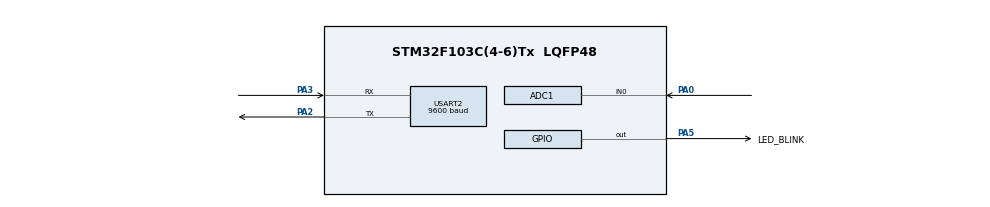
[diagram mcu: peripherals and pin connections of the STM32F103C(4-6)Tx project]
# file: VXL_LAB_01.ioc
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ADC1.Channel-1\#ChannelRegularConversion=ADC_CHANNEL_0
ADC1.ContinuousConvMode=DISABLE
ADC1.NbrOfConversionFlag=1
ADC1.Rank-1\#ChannelRegularConversion=1
ADC1.SamplingTime-1\#ChannelRegularConversion=ADC_SAMPLETIME_1CYCLE_5
ADC1.master=1
Mcu.Family=STM32F1
Mcu.Name=STM32F103C(4-6)Tx
Mcu.Package=LQFP48
NVIC.PriorityGroup=NVIC_PRIORITYGROUP_4
NVIC.TIM2_IRQn=true\:0\:0\:false\:false\:true\:true\:true\:true
NVIC.USART2_IRQn=true\:0\:0\:false\:false\:true\:true\:true\:true
PA0-WKUP.Signal=ADCx_IN0
PA2.Mode=Asynchronous
PA2.Signal=USART2_TX
PA3.Mode=Asynchronous
PA3.Signal=USART2_RX
PA5.GPIO_Label=LED_BLINK
PA5.Signal=GPIO_Output
ProjectManager.HeapSize=0x200
ProjectManager.StackSize=0x400
ProjectManager.TargetToolchain=STM32CubeIDE
RCC.APB1Freq_Value=8000000
RCC.APB2Freq_Value=8000000
SH.ADCx_IN0.0=ADC1_IN0,IN0
TIM2.Period=9
TIM2.Prescaler=7999
USART2.BaudRate=9600
USART2.VirtualMode=VM_ASYNC
VP_SYS_VS_ND.Mode=No_Debug
VP_TIM2_VS_ClockSourceINT.Mode=Internal
board=custom

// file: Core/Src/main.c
/* USER CODE BEGIN Header */
/**
  ******************************************************************************
  * @file           : main.c
  * @brief          : Main program body
  ******************************************************************************
  * @attention
  *
  * Copyright (c) 2025 STMicroelectronics.
  * All rights reserved.
  *
  * This software is licensed under terms that can be found in the LICENSE file
  * in the root directory of this software component.
  * If no LICENSE file comes with this software, it is provided AS-IS.
  *
  ******************************************************************************
  */
/* USER CODE END Header */
#include "main.h"

/* USER CODE BEGIN Includes */
#include <stdio.h>
#include <string.h>
#include <ctype.h>
/* USER CODE END Includes */

/* USER CODE BEGIN PTD */
typedef enum { SEEK_BANG = 0, READ_CMD } ParserState;
typedef enum { IDLE = 0, SEND_DATA, WAIT_OK } CommState;
/* USER CODE END PTD */

/* USER CODE BEGIN PD */
#define RB_SIZE 64
#define TIMEOUT_MS 1000
/* USER CODE END PD */

ADC_HandleTypeDef hadc1;

TIM_HandleTypeDef htim2;

UART_HandleTypeDef huart2;

/* USER CODE BEGIN PV */
uint8_t rx_byte = 0x20, temp=0x52;
uint8_t rb[RB_SIZE];
uint16_t rb_head = 0, rb_tail = 0;

uint8_t buffer_flag = 0;

uint32_t ADC_value = 0;

char cmd[16];
uint8_t cmd_len = 0;
uint32_t next_send_ms = 0;

uint8_t resend_flag = 0;

ParserState parser_state = SEEK_BANG;
CommState comm_state = IDLE;
/* USER CODE END PV */

void SystemClock_Config(void);
static void MX_GPIO_Init(void);
static void MX_TIM2_Init(void);
static void MX_ADC1_Init(void);
static void MX_USART2_UART_Init(void);
/* USER CODE BEGIN PFP */
void Init_UART(){
	HAL_UART_Receive_IT(&huart2, &temp, 1);
}

void rb_put(uint8_t b) {
    uint16_t next = (rb_head + 1) % RB_SIZE;
    if (next != rb_tail) {
    	rb[rb_head] = b; rb_head = next;
    }
}

int rb_get(uint8_t *out) {
    if (rb_head == rb_tail) return 0;
    *out = rb[rb_tail];
    rb_tail = (rb_tail + 1) % RB_SIZE;
    return 1;
}

void command_parser_fsm(void)
{
    uint8_t b;
    while (rb_get(&b)) {
        switch (parser_state) {

        case SEEK_BANG:
            if (b == '!') {
                parser_state = READ_CMD;
                cmd_len = 0;
            }
            break;

        case READ_CMD:
            if (b == '#') {
                cmd[cmd_len] = '\0';
                for (uint8_t i = 0; i < cmd_len; i++)
                    cmd[i] = toupper((unsigned char)cmd[i]);

                if (strcmp(cmd, "RST") == 0)
                    comm_state = SEND_DATA;
                else if (strcmp(cmd, "OK") == 0)
                    comm_state = IDLE;

                parser_state = SEEK_BANG;
            }else if (b == '!'){
            	cmd_len = 0;
            }
            else if (cmd_len < sizeof(cmd) - 1 && b >= 0x20 && b <= 0x7E)
                cmd[cmd_len++] = b;
            else if (cmd_len >= sizeof(cmd) - 1)
                parser_state = SEEK_BANG;
            break;
        }
    }
}

void update_ADC_value(void)
{
    HAL_ADC_Start(&hadc1);
    HAL_ADC_PollForConversion(&hadc1, 10);
    ADC_value = HAL_ADC_GetValue(&hadc1);
    HAL_ADC_Stop(&hadc1);
}

void uart_communication_fsm(void)
{
    uint32_t now = HAL_GetTick();

    switch (comm_state) {

    case SEND_DATA:
    {
        char out[32];
        update_ADC_value();
        int n = snprintf(out, sizeof(out), "!ADC=%lu#\r\n", (unsigned long)ADC_value);
        HAL_UART_Transmit(&huart2, (uint8_t*)out, n, 100);

        resend_flag = 1;
        next_send_ms = now + TIMEOUT_MS;
        comm_state = WAIT_OK;
        break;
    }

    case WAIT_OK:
        if (resend_flag && (int32_t)(now - next_send_ms) >= 0) {
            char out[32];
            int n = snprintf(out, sizeof(out), "!ADC=%lu#\r\n", (unsigned long)ADC_value);
            HAL_UART_Transmit(&huart2, (uint8_t*)out, n, 100);
            next_send_ms = now + TIMEOUT_MS;
        }
        break;

    case IDLE:
    default:
        resend_flag = 0;
        break;
    }
}

void HAL_UART_RxCpltCallback(UART_HandleTypeDef *huart) {
    if (huart->Instance == USART2) {
    	rb_put(rx_byte);
    	buffer_flag = 1;
        HAL_UART_Receive_IT(&huart2, &rx_byte, 1);
    }
}
/* USER CODE END PFP */

int main(void)
{

  /* MCU Configuration--------------------------------------------------------*/

  /* Reset of all peripherals, Initializes the Flash interface and the Systick. */
  HAL_Init();

  /* Configure the system clock */
  SystemClock_Config();

  /* Initialize all configured peripherals */
  MX_GPIO_Init();
  MX_TIM2_Init();
  MX_ADC1_Init();
  MX_USART2_UART_Init();
  /* USER CODE BEGIN 2 */
  HAL_TIM_Base_Start_IT(&htim2);
  Init_UART();
  /* USER CODE END 2 */
  /* Infinite loop */
  /* USER CODE BEGIN WHILE */
  while (1)
  {
	  if ( buffer_flag == 1) {
		  command_parser_fsm();
		  buffer_flag = 0;
	  }
	  uart_communication_fsm();
    /* USER CODE END WHILE */

  }
}

void SystemClock_Config(void)
{
  RCC_OscInitTypeDef RCC_OscInitStruct = {0};
  RCC_ClkInitTypeDef RCC_ClkInitStruct = {0};
  RCC_PeriphCLKInitTypeDef PeriphClkInit = {0};

  /** Initializes the RCC Oscillators according to the specified parameters
  * in the RCC_OscInitTypeDef structure.
  */
  RCC_OscInitStruct.OscillatorType = RCC_OSCILLATORTYPE_HSI;
  RCC_OscInitStruct.HSIState = RCC_HSI_ON;
  RCC_OscInitStruct.HSICalibrationValue = RCC_HSICALIBRATION_DEFAULT;
  RCC_OscInitStruct.PLL.PLLState = RCC_PLL_NONE;
  if (HAL_RCC_OscConfig(&RCC_OscInitStruct) != HAL_OK)
  {
    Error_Handler();
  }

  /** Initializes the CPU, AHB and APB buses clocks
  */
  RCC_ClkInitStruct.ClockType = RCC_CLOCKTYPE_HCLK|RCC_CLOCKTYPE_SYSCLK
                              |RCC_CLOCKTYPE_PCLK1|RCC_CLOCKTYPE_PCLK2;
  RCC_ClkInitStruct.SYSCLKSource = RCC_SYSCLKSOURCE_HSI;
  RCC_ClkInitStruct.AHBCLKDivider = RCC_SYSCLK_DIV1;
  RCC_ClkInitStruct.APB1CLKDivider = RCC_HCLK_DIV1;
  RCC_ClkInitStruct.APB2CLKDivider = RCC_HCLK_DIV1;

  if (HAL_RCC_ClockConfig(&RCC_ClkInitStruct, FLASH_LATENCY_0) != HAL_OK)
  {
    Error_Handler();
  }
  PeriphClkInit.PeriphClockSelection = RCC_PERIPHCLK_ADC;
  PeriphClkInit.AdcClockSelection = RCC_ADCPCLK2_DIV2;
  if (HAL_RCCEx_PeriphCLKConfig(&PeriphClkInit) != HAL_OK)
  {
    Error_Handler();
  }
}

static void MX_ADC1_Init(void)
{

  ADC_ChannelConfTypeDef sConfig = {0};

  /** Common config
  */
  hadc1.Instance = ADC1;
  hadc1.Init.ScanConvMode = ADC_SCAN_DISABLE;
  hadc1.Init.ContinuousConvMode = DISABLE;
  hadc1.Init.DiscontinuousConvMode = DISABLE;
  hadc1.Init.ExternalTrigConv = ADC_SOFTWARE_START;
  hadc1.Init.DataAlign = ADC_DATAALIGN_RIGHT;
  hadc1.Init.NbrOfConversion = 1;
  if (HAL_ADC_Init(&hadc1) != HAL_OK)
  {
    Error_Handler();
  }

  /** Configure Regular Channel
  */
  sConfig.Channel = ADC_CHANNEL_0;
  sConfig.Rank = ADC_REGULAR_RANK_1;
  sConfig.SamplingTime = ADC_SAMPLETIME_1CYCLE_5;
  if (HAL_ADC_ConfigChannel(&hadc1, &sConfig) != HAL_OK)
  {
    Error_Handler();
  }

}

static void MX_TIM2_Init(void)
{

  TIM_ClockConfigTypeDef sClockSourceConfig = {0};
  TIM_MasterConfigTypeDef sMasterConfig = {0};

  htim2.Instance = TIM2;
  htim2.Init.Prescaler = 7999;
  htim2.Init.CounterMode = TIM_COUNTERMODE_UP;
  htim2.Init.Period = 9;
  htim2.Init.ClockDivision = TIM_CLOCKDIVISION_DIV1;
  htim2.Init.AutoReloadPreload = TIM_AUTORELOAD_PRELOAD_DISABLE;
  if (HAL_TIM_Base_Init(&htim2) != HAL_OK)
  {
    Error_Handler();
  }
  sClockSourceConfig.ClockSource = TIM_CLOCKSOURCE_INTERNAL;
  if (HAL_TIM_ConfigClockSource(&htim2, &sClockSourceConfig) != HAL_OK)
  {
    Error_Handler();
  }
  sMasterConfig.MasterOutputTrigger = TIM_TRGO_RESET;
  sMasterConfig.MasterSlaveMode = TIM_MASTERSLAVEMODE_DISABLE;
  if (HAL_TIMEx_MasterConfigSynchronization(&htim2, &sMasterConfig) != HAL_OK)
  {
    Error_Handler();
  }

}

static void MX_USART2_UART_Init(void)
{

  huart2.Instance = USART2;
  huart2.Init.BaudRate = 9600;
  huart2.Init.WordLength = UART_WORDLENGTH_8B;
  huart2.Init.StopBits = UART_STOPBITS_1;
  huart2.Init.Parity = UART_PARITY_NONE;
  huart2.Init.Mode = UART_MODE_TX_RX;
  huart2.Init.HwFlowCtl = UART_HWCONTROL_NONE;
  huart2.Init.OverSampling = UART_OVERSAMPLING_16;
  if (HAL_UART_Init(&huart2) != HAL_OK)
  {
    Error_Handler();
  }

}

static void MX_GPIO_Init(void)
{
  GPIO_InitTypeDef GPIO_InitStruct = {0};

  /* GPIO Ports Clock Enable */
  __HAL_RCC_GPIOA_CLK_ENABLE();

  /*Configure GPIO pin Output Level */
  HAL_GPIO_WritePin(LED_BLINK_GPIO_Port, LED_BLINK_Pin, GPIO_PIN_RESET);

  /*Configure GPIO pin : LED_BLINK_Pin */
  GPIO_InitStruct.Pin = LED_BLINK_Pin;
  GPIO_InitStruct.Mode = GPIO_MODE_OUTPUT_PP;
  GPIO_InitStruct.Pull = GPIO_NOPULL;
  GPIO_InitStruct.Speed = GPIO_SPEED_FREQ_LOW;
  HAL_GPIO_Init(LED_BLINK_GPIO_Port, &GPIO_InitStruct);

}

void Error_Handler(void)
{
  __disable_irq();
  while (1)
  {
  }
}
